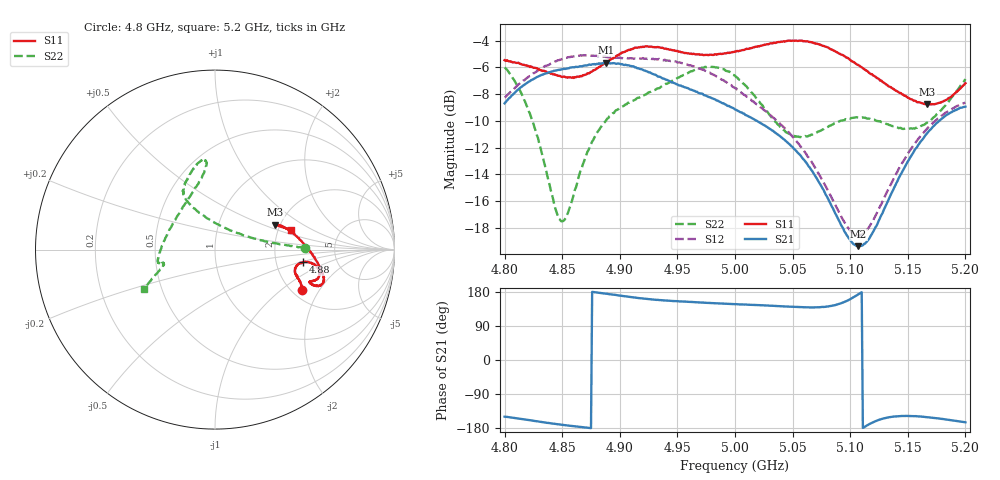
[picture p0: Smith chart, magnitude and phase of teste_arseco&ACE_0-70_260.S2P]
! Network Analyzer HP8722D
! Hewlett-Packard
! Data name: Linha & Wilkinson
! Saver's name: Rodrigo Anjos
! Comments: Teste da utilização de aquisição
! continua pelo VNA HP8722D
! Time and date: 8/5/2025 14:55
!  Frequency  S11  S21  S12  S22
# HZ  S  MA R 50
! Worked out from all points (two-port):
!   401 points, 4.8 GHz to 5.2 GHz, reference 50 ohm
!   highest |S21| = -5.66 dB at 4.888 GHz (marker M1); lowest = -19.4 dB at 5.107 GHz (marker M2)
!   |S21| within 3 dB of the highest: 4.8 GHz to 4.989 GHz (188.4 MHz wide, 3.85 % of centre)
!   lowest |S11| = -8.8 dB at 5.167 GHz (marker M3), VSWR 2.14, Z = 94.2 + j30.4 ohm
!   |S11| at or under -10 dB: nowhere
!   |S22| runs from -17.5 to -5.9 dB; largest |S21 - S12| = 1.1
!   S11 on the Smith chart (normalised r, x): 4.8 GHz: 2.24, -1.42; 4.88 GHz: 2.85, -0.54; 5.2 GHz: 2.34, +0.65
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4.8e9  0.5327 -25.2  0.3675 -149.6  0.3868 9.7  0.5006 1.2
4.811e9  0.5205 -22.4  0.4111 -154.0  0.428 8.3  0.4281 2.8
4.822e9  0.5024 -20.5  0.4448 -158.9  0.4653 6.4  0.3361 6.1
4.848e9  0.4654 -16.2  0.49 -170.2  0.535 2.6  0.1353 56.3
4.854e9  0.4595 -14.5  0.4959 -172.5  0.5438 1.5  0.1402 81.6
4.867e9  0.4638 -10.8  0.5053 -177.2  0.554 -0.3  0.2108 111.0
4.88e9  0.496 -8.2  0.5165 178.1  0.5536 -1.4  0.285 118.6
4.888e9  0.5214 -7.5  0.5209 175.0  0.5478 -1.7  0.3165 120.1
4.912e9  0.5896 -10.9  0.5053 164.9  0.5392 -0.9  0.3767 117.8
4.934e9  0.5954 -15.7  0.4621 158.2  0.5388 -2.0  0.4183 111.8
4.975e9  0.5574 -19.1  0.3924 150.9  0.4844 -5.6  0.5021 98.6
5e9  0.574 -19.7  0.3487 147.3  0.4191 -5.6  0.4664 96.3
5.018e9  0.5982 -19.6  0.3173 145.1  0.3667 -3.0  0.3864 103.4
5.044e9  0.627 -17.8  0.2662 141.2  0.2941 2.6  0.2871 131.5
5.067e9  0.6208 -13.6  0.2052 138.9  0.2205 9.2  0.2809 164.6
5.096e9  0.5479 -3.7  0.1203 154.5  0.1299 34.9  0.3209 -171.4
5.107e9  0.5111 1.7  0.1075 173.1  0.1178 56.0  0.3255 -168.0
5.117e9  0.4759 6.7  0.1157 -168.4  0.128 75.5  0.3219 -166.6
5.134e9  0.4246 14.9  0.1633 -150.9  0.1786 94.7  0.3049 -165.6
5.167e9  0.364 22.6  0.2846 -150.9  0.2963 101.9  0.312 -161.6
5.183e9  0.3781 20.4  0.3308 -156.9  0.3398 101.9  0.3624 -156.8
5.2e9  0.4369 14.8  0.3571 -164.3  0.3697 102.3  0.453 -150.8
